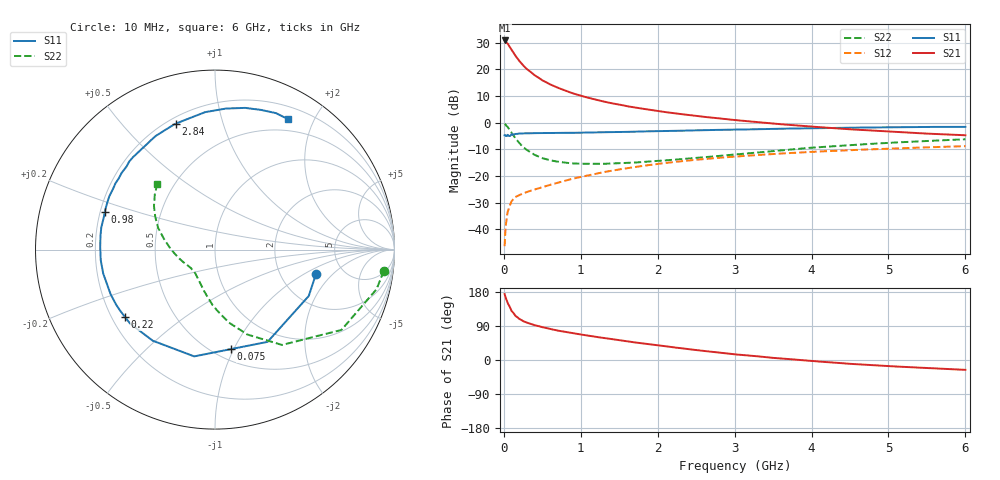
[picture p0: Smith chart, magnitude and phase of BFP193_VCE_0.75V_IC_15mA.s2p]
! Infineon Technologies  Discrete & RF Semiconductors
! BFP193
! VCE = 0.75V,  IC =  15 mA
! Common Emitter S-Parameters:  Jan 2016
# GHz  S  MA  R  50
!  f  S11  S21  S12  S22
! GHz  MAG  ANG  MAG  ANG  MAG  ANG  MAG  ANG
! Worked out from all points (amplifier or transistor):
!   210 points, 10 MHz to 6 GHz, reference 50 ohm
!   highest |S21| = 30.9 dB at 10 MHz (marker M1)
!   |S21| within 3 dB of that: start of sweep to 89.02 MHz
!   unconditionally stable (mu >= 1): 761.4 MHz to 4.404 GHz
!   at 185 MHz: K = 0.43, MSG = 25.6 dB, |S12| = -27.4 dB
!   at 1.52 GHz: K = 1.11, MAG = 10.1 dB, |S12| = -17.5 dB
!   at 6 GHz: K = 0.99, MSG = 2.0 dB, |S12| = -8.8 dB
!   S11 on the Smith chart (normalised r, x): 10 MHz: 3.15, -1.31; 75 MHz: 0.60, -0.97; 220 MHz: 0.25, -0.31; 980 MHz: 0.22, +0.16; 2.84 GHz: 0.23, +0.71; 6 GHz: 0.35, +1.65
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0.01  0.5786 -13.8  34.94 174.0  0.0048 86.1  0.9481 -7.2
0.02  0.5828 -26.3  33.78 166.5  0.0094 76.0  0.9265 -13.8
0.05  0.5916 -60.3  30.44 149.7  0.0212 65.8  0.8347 -32.4
0.075  0.5615 -80.9  26.57 141.0  0.0271 57.3  0.728 -42.2
0.1  0.6061 -101.0  23.52 129.6  0.0334 51.9  0.6494 -54.9
0.15  0.6148 -124.3  18.04 116.6  0.0402 45.6  0.5067 -69.1
0.2  0.6274 -139.1  14.49 108.5  0.0435 43.4  0.4146 -79.1
0.22  0.6264 -143.2  13.43 106.4  0.0449 42.7  0.3873 -81.9
0.26  0.6305 -150.9  11.53 101.7  0.0476 41.8  0.3399 -87.9
0.3  0.6325 -156.9  10.12 98.2  0.05 42.3  0.3073 -92.8
0.4  0.637 -168.0  7.769 91.8  0.0555 44.0  0.2487 -102.6
0.5  0.6393 -174.7  6.245 86.6  0.0614 46.0  0.2162 -110.2
0.7  0.6426 173.2  4.532 77.6  0.0745 48.9  0.185 -121.6
0.98  0.6486 161.3  3.265 68.0  0.0945 50.9  0.1698 -132.8
1.02  0.6508 159.7  3.143 66.7  0.0973 51.0  0.1694 -134.2
1.4  0.6661 146.4  2.313 55.3  0.1251 49.9  0.1712 -144.8
2.02  0.691 128.2  1.638 38.3  0.1696 45.1  0.1923 -160.0
2.84  0.7344 107.2  1.186 18.7  0.2216 36.1  0.2408 -179.1
3.1  0.7437 101.8  1.087 13.3  0.2362 33.0  0.2594 175.3
4.1  0.7908 84.1  0.824 -4.1  0.2876 21.7  0.3466 157.4
5.1  0.8216 70.5  0.673 -17.2  0.3285 10.8  0.4249 142.9
6  0.8328 60.8  0.58 -26.0  0.3623 1.2  0.4874 131.3
